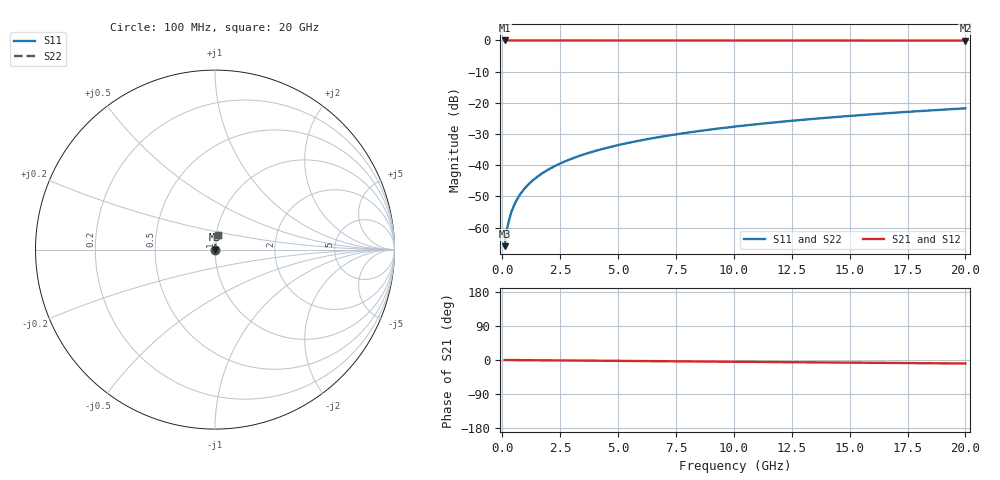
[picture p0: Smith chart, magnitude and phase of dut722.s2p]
! Touchstone file exported from HFSS 2026.1.0
!  File:  C:/ffzhzh/LocalFiles/Ansys_Project_Files/temp_train_TSV_722_1783182325_51560.aedt
!  Generated:  12:27:04 AM Jul  5, 2026
!  Design:  TSV
!  Project:  temp_train_TSV_722_1783182325_51560
! Variables:
!  h_bsmrdl = 2um
!  h_ox = 20um
!  h_rdl = 5um
!  h_sub = 72.42um
!  h_tmrdl = 5um
!  h_tsv = 72.42um
!  h_via = 3um
!  l_bsmrdl = 300um
!  l_sub = 413.18um
!  l_tmrdl = 200um
!  m_sub = 200um
!  pitch = 58.69um
!  r_tsv = 6.59um
!  s_tmrdl = 10um
!  w_bsmrdl = 18um
!  w_sub = 500um
!  w_tmrdl = 12um
!  x_tsv_center1 = 206um
!  x_tsv_center2 = 524um
!  x_tsv_center3 = 736um
!  x_tsv_center4 = 1054um
!  x_tsv_center5 = 1266um
!  x_tsv_center6 = 1584um
# GHz S MA R 50.000000
! Terminal data exported
! Port[1] = TSV1_1_T1
! Port[2] = TSV1_1_T2
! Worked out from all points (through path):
!   200 points, 100 MHz to 20 GHz, reference 50 ohm
!   highest |S21| = 0.00 dB at 100 MHz (marker M1); lowest = 0.0 dB at 20 GHz (marker M2)
!   group delay of S21, straight-line fit = 1.28 ps
!   lowest |S11| = -66.0 dB at 100 MHz (marker M3), VSWR 1.00, Z = 50 + j0.0449 ohm
!   |S11| at or under -10 dB: start of sweep to end of sweep
!   |S22| runs from -66.0 to -21.8 dB; largest |S21 - S12| = 3.5e-15
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0.1  0.0005019 63.4  0.9998 -0.0  0.9998 -0.0  0.0005019 63.4
! Gamma 0 0 0 0
! Port Impedance 50 0 50 0
0.2  0.0009263 75.4  0.9998 -0.1  0.9998 -0.1  0.0009263 75.4
0.3  0.001363 79.5  0.9998 -0.1  0.9998 -0.1  0.001363 79.5
0.4  0.001801 81.5  0.9997 -0.2  0.9997 -0.2  0.001801 81.5
0.5  0.002237 82.6  0.9997 -0.2  0.9997 -0.2  0.002237 82.6
0.6  0.002669 83.3  0.9997 -0.3  0.9997 -0.3  0.002669 83.3
0.7  0.003098 83.8  0.9997 -0.3  0.9997 -0.3  0.003098 83.8
0.8  0.003525 84.1  0.9997 -0.4  0.9997 -0.4  0.003525 84.1
1  0.004371 84.6  0.9996 -0.5  0.9996 -0.5  0.004371 84.6
1.4  0.006049 85.2  0.9995 -0.7  0.9995 -0.7  0.006049 85.2
1.7  0.0073 85.5  0.9995 -0.8  0.9995 -0.8  0.0073 85.5
2  0.00855 85.7  0.9995 -0.9  0.9995 -0.9  0.00855 85.7
2.7  0.01146 85.9  0.9994 -1.3  0.9994 -1.3  0.01146 85.9
3.5  0.01477 85.9  0.9992 -1.6  0.9992 -1.6  0.01477 85.9
4.2  0.01767 85.7  0.9991 -2.0  0.9991 -2.0  0.01767 85.7
5  0.02096 85.5  0.999 -2.3  0.999 -2.3  0.02096 85.5
6.8  0.02833 85.0  0.9987 -3.2  0.9987 -3.2  0.02833 85.0
8.3  0.03445 84.5  0.9984 -3.9  0.9984 -3.9  0.03445 84.5
10.1  0.04177 83.8  0.998 -4.7  0.998 -4.7  0.04177 83.8
13.4  0.05512 82.5  0.9972 -6.2  0.9972 -6.2  0.05512 82.5
16.7  0.06838 81.1  0.9963 -7.7  0.9963 -7.7  0.06838 81.1
20  0.08153 79.7  0.9951 -9.2  0.9951 -9.2  0.08153 79.7
